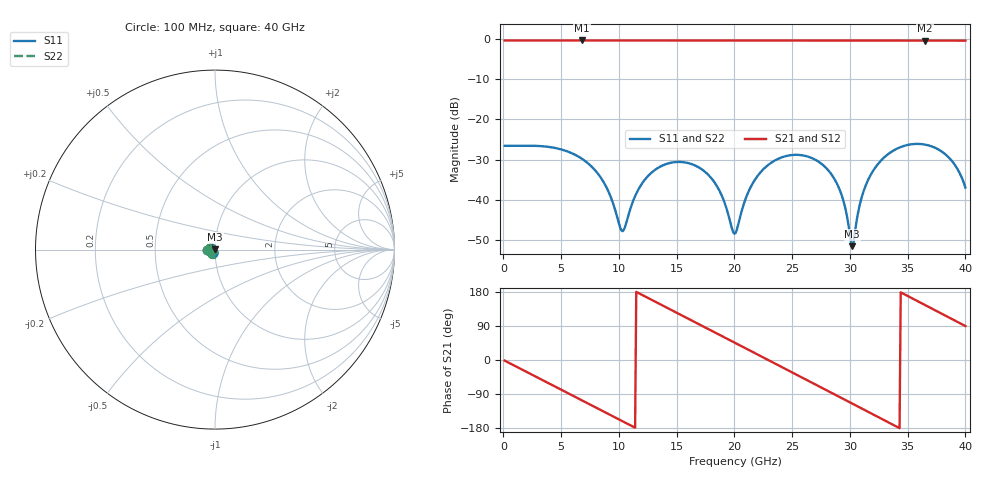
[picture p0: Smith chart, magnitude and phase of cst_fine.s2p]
! thru_ts6_L1: 2×thru, L1, 8 mm
! stackup: ThunderScope Rev5.3 6-layer (FR408HR / FR-4, from the board file)
! ports: 1, 2
! CST Studio Suite 2025.5 Release from 2025-05-30, time domain (FIT, hexahedral, PBA), 191862 mesh cells, 39 s
! mesh: {'lpw': 30.0, 'lpb': 30.0, 'minstep': 0.0, 'ratio': 20}; ports: port 1 (face); port 2 (face)
! interpolated from CST's 1001 samples to the case grid
# Hz S RI R 50
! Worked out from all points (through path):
!   400 points, 100 MHz to 40 GHz, reference 50 ohm
!   highest |S21| = -0.41 dB at 6.8 GHz (marker M1); lowest = -0.5 dB at 36.5 GHz (marker M2)
!   group delay of S21, straight-line fit = 43.8 ps
!   lowest |S11| = -51.5 dB at 30.2 GHz (marker M3), VSWR 1.01, Z = 50.1 + j0.232 ohm
!   |S11| at or under -10 dB: start of sweep to end of sweep
!   |S22| runs from -51.5 to -26.1 dB; largest |S21 - S12| = 5.4e-07
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1e8  -0.0469 0.00045  0.9527 -0.026  0.9527 -0.026  -0.0469 0.00045
3.8e9  -0.0409 0.0205  0.4836 -0.8214  0.4836 -0.8214  -0.0409 0.0205
6.8e9  -0.0155 0.0284  -0.2713 -0.9139  -0.2713 -0.9139  -0.0155 0.0284
8.8e9  0.00138 0.0154  -0.7073 -0.6389  -0.7074 -0.6389  0.00138 0.0154
1.03e10  0.00403 -0.000694  -0.9033 -0.3032  -0.9033 -0.3032  0.00403 -0.000694
1.17e10  -0.00308 -0.0133  -0.9508 0.0566  -0.9508 0.0566  -0.00308 -0.0133
1.34e10  -0.0182 -0.0172  -0.8239 0.4773  -0.8239 0.4773  -0.0182 -0.0172
1.55e10  -0.0292 -0.00421  -0.4315 0.8487  -0.4315 0.8487  -0.0292 -0.00421
1.74e10  -0.0206 0.00945  0.0486 0.951  0.0486 0.951  -0.0206 0.00945
1.87e10  -0.00795 0.0104  0.378 0.874  0.378 0.874  -0.00795 0.0104
2.01e10  0.00368 0.00128  0.6783 0.6679  0.6783 0.6679  0.00368 0.00128
2.12e10  0.00672 -0.0105  0.8462 0.4352  0.8462 0.4352  0.00672 -0.0105
2.25e10  0.00135 -0.0239  0.9445 0.1114  0.9445 0.1114  0.00135 -0.0239
2.45e10  -0.0186 -0.0298  0.8628 -0.3985  0.8628 -0.3985  -0.0186 -0.0298
2.67e10  -0.0309 -0.0118  0.4824 -0.8187  0.4824 -0.8187  -0.0309 -0.0118
2.9e10  -0.0135 0.00552  -0.0971 -0.9457  -0.0971 -0.9457  -0.0135 0.00552
3.02e10  0.00134 0.00231  -0.3999 -0.8624  -0.3999 -0.8624  0.00134 0.00231
3.14e10  0.0118 -0.01  -0.659 -0.6847  -0.659 -0.6847  0.0118 -0.01
3.34e10  0.00768 -0.0371  -0.9195 -0.2357  -0.9195 -0.2357  0.00768 -0.0371
3.65e10  -0.031 -0.0375  -0.7788 0.5407  -0.7788 0.5407  -0.031 -0.0375
3.86e10  -0.0319 -0.00905  -0.3533 0.8802  -0.3533 0.8802  -0.0319 -0.00905
4e10  -0.014 0.0024  0.00711 0.9487  0.00711 0.9487  -0.014 0.0024
